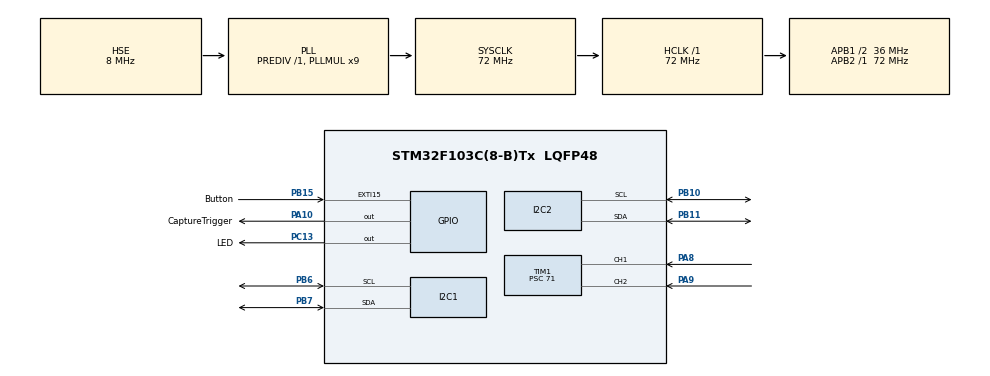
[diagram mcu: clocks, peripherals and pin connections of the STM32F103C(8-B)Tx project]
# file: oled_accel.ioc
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Mcu.Family=STM32F1
RCC.PLLSourceVirtual=RCC_PLLSOURCE_HSE
PD1-OSC_OUT.Mode=HSE-External-Oscillator
PB10.Mode=I2C
PC13-TAMPER-RTC.Signal=GPIO_Output
PD0-OSC_IN.Signal=RCC_OSC_IN
RCC.APB1CLKDivider=RCC_HCLK_DIV2
PB11.Signal=I2C2_SDA
PB15.Signal=GPXTI15
RCC.SYSCLKSource=RCC_SYSCLKSOURCE_PLLCLK
ProjectManager.StackSize=0x400
PD1-OSC_OUT.Signal=RCC_OSC_OUT
RCC.ADCPresc=RCC_ADCPCLK2_DIV6
PA13.Signal=SYS_JTMS-SWDIO
TIM1.Prescaler=71
SH.S_TIM1_CH1.0=TIM1_CH1,Input_Capture1_from_TI1
PB11.Mode=I2C
ProjectManager.TargetToolchain=STM32CubeIDE
I2C1.I2C_Mode=I2C_Standard
RCC.HCLKFreq_Value=72000000
RCC.APB2TimFreq_Value=72000000
TIM3.Period=500
PA9.Signal=S_TIM1_CH2
PB6.Signal=I2C1_SCL
PB6.Mode=I2C
RCC.USBFreq_Value=72000000
RCC.AHBFreq_Value=72000000
PB10.Signal=I2C2_SCL
PD0-OSC_IN.Mode=HSE-External-Oscillator
NVIC.EXTI15_10_IRQn=true\:0\:0\:false\:false\:true\:true\:true
PB15.GPIO_ModeDefaultEXTI=GPIO_MODE_IT_FALLING
board=custom
PC13-TAMPER-RTC.GPIO_Label=LED
RCC.PLLMUL=RCC_PLL_MUL9
NVIC.TIM3_IRQn=true\:0\:0\:false\:false\:true\:true\:true
RCC.APB2Freq_Value=72000000
PC13-TAMPER-RTC.PinState=GPIO_PIN_SET
PB15.GPIO_Label=Button
SH.S_TIM1_CH2.0=TIM1_CH2,Input_Capture2_from_TI2
VP_TIM2_VS_ClockSourceINT.Mode=Internal
PA14.Mode=Serial_Wire
TIM3.Prescaler=720
NVIC.TIM2_IRQn=true\:0\:0\:false\:false\:true\:true\:true
PA10.GPIO_Label=CaptureTrigger
PB7.Signal=I2C1_SDA
PA8.Signal=S_TIM1_CH1
TIM2.Period=5000
PA13.Mode=Serial_Wire
Mcu.Name=STM32F103C(8-B)Tx
TIM1.Channel-Input_Capture2_from_TI2=TIM_CHANNEL_2
NVIC.TIM1_CC_IRQn=true\:0\:0\:false\:false\:true\:true\:true
RCC.SYSCLKFreq_VALUE=72000000
Mcu.Package=LQFP48
TIM2.Prescaler=7200 - 1
PB15.GPIO_PuPd=GPIO_PULLUP
TIM1.Channel-Input_Capture1_from_TI1=TIM_CHANNEL_1
PB7.Mode=I2C
PA10.Signal=GPIO_Output
PA14.Signal=SYS_JTCK-SWCLK
ProjectManager.HeapSize=0x200
NVIC.PriorityGroup=NVIC_PRIORITYGROUP_4
TIM1.ICPolarity_CH2=TIM_INPUTCHANNELPOLARITY_FALLING
RCC.APB1TimFreq_Value=72000000
TIM1.ICPolarity_CH1=TIM_INPUTCHANNELPOLARITY_RISING
TIM2.AutoReloadPreload=TIM_AUTORELOAD_PRELOAD_ENABLE
TIM1.Period=0xfffe
RCC.APB1Freq_Value=36000000
VP_TIM3_VS_ClockSourceINT.Mode=Internal

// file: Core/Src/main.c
/* USER CODE BEGIN Header */
/**
  ******************************************************************************
  * @file           : main.c
  * @brief          : Main program body
  ******************************************************************************
  * @attention
  *
  * <h2><center>&copy; Copyright (c) 2021 STMicroelectronics.
  * All rights reserved.</center></h2>
  *
  * This software component is licensed by ST under BSD 3-Clause license,
  * the "License"; You may not use this file except in compliance with the
  * License. You may obtain a copy of the License at:
  *                        opensource.org/licenses/BSD-3-Clause
  *
  ******************************************************************************
  */
/* USER CODE END Header */
#include "main.h"

/* USER CODE BEGIN Includes */

#include "../../Libraries/ssd1306.h"
#include "../../Libraries/FIRFilter.h"
#include "../../Libraries/mpu6050.h"
#include "../../Libraries/angles.h"
#include "../../Libraries/gui_multitool.h"
#include "../../Libraries/hc-sr04.h"
#include "math.h"
#include "stdio.h"

/* USER CODE END Includes */

/* USER CODE BEGIN PTD */

//	This is a test to check if new online repo is working ok.

/* USER CODE END PTD */

I2C_HandleTypeDef hi2c1;
I2C_HandleTypeDef hi2c2;

TIM_HandleTypeDef htim1;
TIM_HandleTypeDef htim2;
TIM_HandleTypeDef htim3;

/* USER CODE BEGIN PV */

char display_mode = 0;

static MPU6050 mpu6050;

static ANGLES angles;

uint16_t distance;

/* USER CODE END PV */

void SystemClock_Config(void);
static void MX_GPIO_Init(void);
static void MX_TIM2_Init(void);
static void MX_I2C1_Init(void);
static void MX_I2C2_Init(void);
static void MX_TIM3_Init(void);
static void MX_TIM1_Init(void);

/* USER CODE BEGIN 0 */

uint8_t intButton;

void HAL_GPIO_EXTI_Callback(uint16_t GPIO_Pin)
{
	if(!HAL_GPIO_ReadPin(Button_GPIO_Port, Button_Pin))
		intButton = 1;
	__HAL_TIM_SET_COUNTER(&htim2, 0);  // reset the counter
	HAL_TIM_Base_Start_IT(&htim2);
}

void HAL_TIM_PeriodElapsedCallback(TIM_HandleTypeDef* htim)
{
	if(htim->Instance == TIM2)	//	Si la interrupcion proviene de TIM2 -> cambio de modo de display
	{
		HAL_TIM_Base_Stop_IT(&htim2);
		if(intButton == 1)		//	Si se presionó el botón por más de dos segundos, cambiar de dist a ángulo o viceversa, según corresponda
		{
			intButton = 0;

			if(!HAL_GPIO_ReadPin(Button_GPIO_Port, Button_Pin))
			{
				if(display_mode == 3)
				{
					if(az_filter.out < 0.2)
						display_mode = 1;

					if(az_filter.out > 0.8)
						display_mode = 2;
				}
				else
				{
					display_mode = 3;
				}
			}
		}

		if(display_mode != 3)
		{
			if(az_filter.out < 0.2)
				display_mode = 1;

			if(az_filter.out > 0.8)
				display_mode = 2;
		}
	}

	if(htim->Instance == TIM3)	//	Si la interrupcion proviene de TIM3 -> lectura de MPU6050
	{
		mpu6050_Get_Accel_Temp(&mpu6050);
		angles_update(&mpu6050, &angles);
	}

}

void HAL_TIM_IC_CaptureCallback(TIM_HandleTypeDef *htim)
{
	distance = HCSR04_Read_ISR(htim);
}

/* USER CODE END 0 */

int main(void)
{

  /* MCU Configuration--------------------------------------------------------*/

  /* Reset of all peripherals, Initializes the Flash interface and the Systick. */
  HAL_Init();

  /* USER CODE BEGIN Init */

  FIRFilter_Init(&az_filter);
  FIRFilter_Init(&angle_yx_filter);

  /* USER CODE END Init */

  /* Configure the system clock */
  SystemClock_Config();

  /* Initialize all configured peripherals */
  MX_GPIO_Init();
  MX_TIM2_Init();
  MX_I2C1_Init();
  MX_I2C2_Init();
  MX_TIM3_Init();
  MX_TIM1_Init();
  /* USER CODE BEGIN 2 */

  mpu6050_Init(&mpu6050);
  ssd1306_Init();
  gui_Init();

  gui_WelcomeScreen();
  HAL_Delay(3000);

  HAL_TIM_Base_Start_IT(&htim3);
  HAL_TIM_IC_Start_IT(&htim1, TIM_CHANNEL_1);
  HAL_TIM_IC_Start_IT(&htim1, TIM_CHANNEL_2);
  HAL_Delay(200);

  if(az_filter.out < 0.2)
	  display_mode = 1;

  if(az_filter.out > 0.8)
	  display_mode = 2;

  HAL_Delay(200);

  /* USER CODE END 2 */

  /* Infinite loop */
  while (1)
  {

    /* USER CODE BEGIN 3 */

	if( display_mode == 1 || display_mode == 2)
	{
		if(display_mode == 1)
		{
			if((angles.yx > -0.3) && (angles.yx < 0.3) )
				HAL_GPIO_WritePin(GPIOC, LED_Pin, 0);
			else
				HAL_GPIO_WritePin(GPIOC, LED_Pin, 1);

			gui_Bubble_1d(angles.yx, mpu6050.temp);
		}

		else
		{
			if((angles.yz > -0.3) && (angles.yz < 0.3) && (angles.xz > -0.3) && (angles.xz < 0.3) )
				HAL_GPIO_WritePin(GPIOC, LED_Pin, 0);
			else
				HAL_GPIO_WritePin(GPIOC, LED_Pin, 1);

			gui_Bubble_2d(angles.yz, angles.xz, mpu6050.temp);
		}

		// Revisar como evaluar que el timer ya está corriendo, cosa de no iniciarlo más de una vez.
		if( ((az_filter.out < 0.3) && (display_mode != 1)) || ((az_filter.out > 0.7) && (display_mode != 2)) )
			HAL_TIM_Base_Start_IT(&htim2);
	}

	if( display_mode == 3 )
	{
		  HCSR04_Read();

		  gui_Distance (distance, mpu6050.temp);

		  ssd1306_UpdateScreen();
		  HAL_Delay(60);
	}
  }

  /* USER CODE END 3 */
}

void SystemClock_Config(void)
{
  RCC_OscInitTypeDef RCC_OscInitStruct = {0};
  RCC_ClkInitTypeDef RCC_ClkInitStruct = {0};

  /** Initializes the RCC Oscillators according to the specified parameters
  * in the RCC_OscInitTypeDef structure.
  */
  RCC_OscInitStruct.OscillatorType = RCC_OSCILLATORTYPE_HSE;
  RCC_OscInitStruct.HSEState = RCC_HSE_ON;
  RCC_OscInitStruct.HSEPredivValue = RCC_HSE_PREDIV_DIV1;
  RCC_OscInitStruct.HSIState = RCC_HSI_ON;
  RCC_OscInitStruct.PLL.PLLState = RCC_PLL_ON;
  RCC_OscInitStruct.PLL.PLLSource = RCC_PLLSOURCE_HSE;
  RCC_OscInitStruct.PLL.PLLMUL = RCC_PLL_MUL9;
  if (HAL_RCC_OscConfig(&RCC_OscInitStruct) != HAL_OK)
  {
    Error_Handler();
  }
  /** Initializes the CPU, AHB and APB buses clocks
  */
  RCC_ClkInitStruct.ClockType = RCC_CLOCKTYPE_HCLK|RCC_CLOCKTYPE_SYSCLK
                              |RCC_CLOCKTYPE_PCLK1|RCC_CLOCKTYPE_PCLK2;
  RCC_ClkInitStruct.SYSCLKSource = RCC_SYSCLKSOURCE_PLLCLK;
  RCC_ClkInitStruct.AHBCLKDivider = RCC_SYSCLK_DIV1;
  RCC_ClkInitStruct.APB1CLKDivider = RCC_HCLK_DIV2;
  RCC_ClkInitStruct.APB2CLKDivider = RCC_HCLK_DIV1;

  if (HAL_RCC_ClockConfig(&RCC_ClkInitStruct, FLASH_LATENCY_2) != HAL_OK)
  {
    Error_Handler();
  }
}

static void MX_I2C1_Init(void)
{

  hi2c1.Instance = I2C1;
  hi2c1.Init.ClockSpeed = 100000;
  hi2c1.Init.DutyCycle = I2C_DUTYCYCLE_2;
  hi2c1.Init.OwnAddress1 = 0;
  hi2c1.Init.AddressingMode = I2C_ADDRESSINGMODE_7BIT;
  hi2c1.Init.DualAddressMode = I2C_DUALADDRESS_DISABLE;
  hi2c1.Init.OwnAddress2 = 0;
  hi2c1.Init.GeneralCallMode = I2C_GENERALCALL_DISABLE;
  hi2c1.Init.NoStretchMode = I2C_NOSTRETCH_DISABLE;
  if (HAL_I2C_Init(&hi2c1) != HAL_OK)
  {
    Error_Handler();
  }

}

static void MX_I2C2_Init(void)
{

  hi2c2.Instance = I2C2;
  hi2c2.Init.ClockSpeed = 100000;
  hi2c2.Init.DutyCycle = I2C_DUTYCYCLE_2;
  hi2c2.Init.OwnAddress1 = 0;
  hi2c2.Init.AddressingMode = I2C_ADDRESSINGMODE_7BIT;
  hi2c2.Init.DualAddressMode = I2C_DUALADDRESS_DISABLE;
  hi2c2.Init.OwnAddress2 = 0;
  hi2c2.Init.GeneralCallMode = I2C_GENERALCALL_DISABLE;
  hi2c2.Init.NoStretchMode = I2C_NOSTRETCH_DISABLE;
  if (HAL_I2C_Init(&hi2c2) != HAL_OK)
  {
    Error_Handler();
  }

}

static void MX_TIM1_Init(void)
{

  TIM_MasterConfigTypeDef sMasterConfig = {0};
  TIM_IC_InitTypeDef sConfigIC = {0};

  htim1.Instance = TIM1;
  htim1.Init.Prescaler = 71;
  htim1.Init.CounterMode = TIM_COUNTERMODE_UP;
  htim1.Init.Period = 0xfffe;
  htim1.Init.ClockDivision = TIM_CLOCKDIVISION_DIV1;
  htim1.Init.RepetitionCounter = 0;
  htim1.Init.AutoReloadPreload = TIM_AUTORELOAD_PRELOAD_DISABLE;
  if (HAL_TIM_IC_Init(&htim1) != HAL_OK)
  {
    Error_Handler();
  }
  sMasterConfig.MasterOutputTrigger = TIM_TRGO_RESET;
  sMasterConfig.MasterSlaveMode = TIM_MASTERSLAVEMODE_DISABLE;
  if (HAL_TIMEx_MasterConfigSynchronization(&htim1, &sMasterConfig) != HAL_OK)
  {
    Error_Handler();
  }
  sConfigIC.ICPolarity = TIM_INPUTCHANNELPOLARITY_RISING;
  sConfigIC.ICSelection = TIM_ICSELECTION_DIRECTTI;
  sConfigIC.ICPrescaler = TIM_ICPSC_DIV1;
  sConfigIC.ICFilter = 0;
  if (HAL_TIM_IC_ConfigChannel(&htim1, &sConfigIC, TIM_CHANNEL_1) != HAL_OK)
  {
    Error_Handler();
  }
  sConfigIC.ICPolarity = TIM_INPUTCHANNELPOLARITY_FALLING;
  if (HAL_TIM_IC_ConfigChannel(&htim1, &sConfigIC, TIM_CHANNEL_2) != HAL_OK)
  {
    Error_Handler();
  }

}

static void MX_TIM2_Init(void)
{

  TIM_ClockConfigTypeDef sClockSourceConfig = {0};
  TIM_MasterConfigTypeDef sMasterConfig = {0};

  htim2.Instance = TIM2;
  htim2.Init.Prescaler = 7200 - 1;
  htim2.Init.CounterMode = TIM_COUNTERMODE_UP;
  htim2.Init.Period = 5000;
  htim2.Init.ClockDivision = TIM_CLOCKDIVISION_DIV1;
  htim2.Init.AutoReloadPreload = TIM_AUTORELOAD_PRELOAD_ENABLE;
  if (HAL_TIM_Base_Init(&htim2) != HAL_OK)
  {
    Error_Handler();
  }
  sClockSourceConfig.ClockSource = TIM_CLOCKSOURCE_INTERNAL;
  if (HAL_TIM_ConfigClockSource(&htim2, &sClockSourceConfig) != HAL_OK)
  {
    Error_Handler();
  }
  sMasterConfig.MasterOutputTrigger = TIM_TRGO_RESET;
  sMasterConfig.MasterSlaveMode = TIM_MASTERSLAVEMODE_DISABLE;
  if (HAL_TIMEx_MasterConfigSynchronization(&htim2, &sMasterConfig) != HAL_OK)
  {
    Error_Handler();
  }

}

static void MX_TIM3_Init(void)
{

  TIM_ClockConfigTypeDef sClockSourceConfig = {0};
  TIM_MasterConfigTypeDef sMasterConfig = {0};

  htim3.Instance = TIM3;
  htim3.Init.Prescaler = 720;
  htim3.Init.CounterMode = TIM_COUNTERMODE_UP;
  htim3.Init.Period = 500;
  htim3.Init.ClockDivision = TIM_CLOCKDIVISION_DIV1;
  htim3.Init.AutoReloadPreload = TIM_AUTORELOAD_PRELOAD_DISABLE;
  if (HAL_TIM_Base_Init(&htim3) != HAL_OK)
  {
    Error_Handler();
  }
  sClockSourceConfig.ClockSource = TIM_CLOCKSOURCE_INTERNAL;
  if (HAL_TIM_ConfigClockSource(&htim3, &sClockSourceConfig) != HAL_OK)
  {
    Error_Handler();
  }
  sMasterConfig.MasterOutputTrigger = TIM_TRGO_RESET;
  sMasterConfig.MasterSlaveMode = TIM_MASTERSLAVEMODE_DISABLE;
  if (HAL_TIMEx_MasterConfigSynchronization(&htim3, &sMasterConfig) != HAL_OK)
  {
    Error_Handler();
  }

}

static void MX_GPIO_Init(void)
{
  GPIO_InitTypeDef GPIO_InitStruct = {0};

  /* GPIO Ports Clock Enable */
  __HAL_RCC_GPIOC_CLK_ENABLE();
  __HAL_RCC_GPIOD_CLK_ENABLE();
  __HAL_RCC_GPIOB_CLK_ENABLE();
  __HAL_RCC_GPIOA_CLK_ENABLE();

  /*Configure GPIO pin Output Level */
  HAL_GPIO_WritePin(LED_GPIO_Port, LED_Pin, GPIO_PIN_SET);

  /*Configure GPIO pin Output Level */
  HAL_GPIO_WritePin(CaptureTrigger_GPIO_Port, CaptureTrigger_Pin, GPIO_PIN_RESET);

  /*Configure GPIO pin : LED_Pin */
  GPIO_InitStruct.Pin = LED_Pin;
  GPIO_InitStruct.Mode = GPIO_MODE_OUTPUT_PP;
  GPIO_InitStruct.Pull = GPIO_NOPULL;
  GPIO_InitStruct.Speed = GPIO_SPEED_FREQ_LOW;
  HAL_GPIO_Init(LED_GPIO_Port, &GPIO_InitStruct);

  /*Configure GPIO pin : Button_Pin */
  GPIO_InitStruct.Pin = Button_Pin;
  GPIO_InitStruct.Mode = GPIO_MODE_IT_FALLING;
  GPIO_InitStruct.Pull = GPIO_PULLUP;
  HAL_GPIO_Init(Button_GPIO_Port, &GPIO_InitStruct);

  /*Configure GPIO pin : CaptureTrigger_Pin */
  GPIO_InitStruct.Pin = CaptureTrigger_Pin;
  GPIO_InitStruct.Mode = GPIO_MODE_OUTPUT_PP;
  GPIO_InitStruct.Pull = GPIO_NOPULL;
  GPIO_InitStruct.Speed = GPIO_SPEED_FREQ_LOW;
  HAL_GPIO_Init(CaptureTrigger_GPIO_Port, &GPIO_InitStruct);

  /* EXTI interrupt init*/
  HAL_NVIC_SetPriority(EXTI15_10_IRQn, 0, 0);
  HAL_NVIC_EnableIRQ(EXTI15_10_IRQn);

}

void Error_Handler(void)
{
  __disable_irq();
  while (1)
  {
  }
}

/************************ (C) COPYRIGHT STMicroelectronics *****END OF FILE****/
